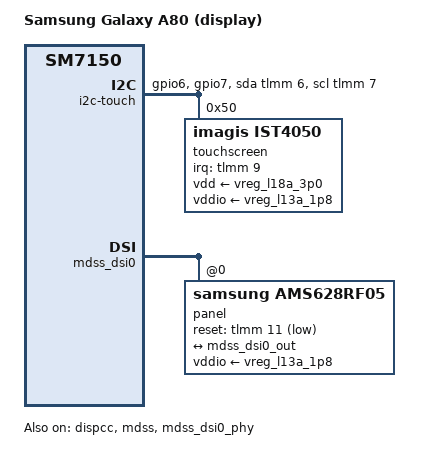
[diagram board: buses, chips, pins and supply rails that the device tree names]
// SPDX-License-Identifier: BSD-3-Clause
/*
 * Samsung Galaxy A80 (r1q), stage 2: the stage-1 board plus the display
 * pipeline (MDSS/DPU, DSI0, AMS628RF05 panel) and the IST4050
 * touchscreen. Kept as its own DTB so
 * the stage-1 image, with the bootloader's framebuffer only, stays a
 * known fallback.
 *
 * Panel wiring from the stock DTBO (ss_dsi_panel_S6E3FC2_AMS670TA01_FHD):
 * reset TLMM 11, enable TLMM 69, TE TLMM 10, VDDIO L13A. ELVDD/ELVSS come
 * from the PM6150L AMOLED block, left on by the bootloader.
 */

#include "sm7150-samsung-r1q.dts"

/ {
	model = "Samsung Galaxy A80 (display)";

	/*
	 * The touchscreen is wired to QUP SE7 (i2c7, TLMM 6 SDA / 7 SCL),
	 * but any transfer on that serial engine, through GPI DMA or its
	 * FIFO, resets the phone at once (a bare chip-ID read from userspace
	 * is enough). Bit-bang the same two lines instead.
	 */
	i2c-touch {
		compatible = "i2c-gpio";
		sda-gpios = <&tlmm 6 (GPIO_ACTIVE_HIGH | GPIO_OPEN_DRAIN)>;
		scl-gpios = <&tlmm 7 (GPIO_ACTIVE_HIGH | GPIO_OPEN_DRAIN)>;
		i2c-gpio,delay-us = <2>;	/* about 250 kHz */

		pinctrl-0 = <&ts_i2c_gpio>;
		pinctrl-names = "default";

		#address-cells = <1>;
		#size-cells = <0>;

		/* Stock: imagis,ist40xx-ts, AVDD from L18A, IRQ on TLMM 9 */
		touchscreen@50 {
			compatible = "imagis,ist4050";
			reg = <0x50>;

			interrupts-extended = <&tlmm 9 IRQ_TYPE_EDGE_FALLING>;

			vdd-supply = <&vreg_l18a_3p0>;
			vddio-supply = <&vreg_l13a_1p8>;

			touchscreen-size-x = <1080>;
			touchscreen-size-y = <2400>;

			pinctrl-0 = <&ts_int_n>;
			pinctrl-names = "default";
		};
	};
};

&dispcc {
	status = "okay";
};

&mdss {
	status = "okay";
};

&mdss_dsi0 {
	vdda-supply = <&vreg_l3c_1p23>;
	status = "okay";

	panel@0 {
		compatible = "samsung,ams628rf05";
		reg = <0>;

		vddio-supply = <&vreg_l13a_1p8>;
		reset-gpios = <&tlmm 11 GPIO_ACTIVE_LOW>;
		/*
		 * The stock enable line is TLMM 69, inside the 63-90 range still
		 * reserved as TrustZone-owned. The bootloader leaves the panel
		 * powered, so leave it alone until 69 is known to be free:
		 * enable-gpios = <&tlmm 69 GPIO_ACTIVE_HIGH>;
		 */

		pinctrl-0 = <&panel_reset_n &mdp_vsync_p>;
		pinctrl-names = "default";

		port {
			panel_in: endpoint {
				remote-endpoint = <&mdss_dsi0_out>;
			};
		};
	};
};

&mdss_dsi0_out {
	data-lanes = <0 1 2 3>;
	remote-endpoint = <&panel_in>;
};

&mdss_dsi0_phy {
	vdds-supply = <&vreg_l4a_0p88>;
	status = "okay";
};

&tlmm {
	mdp_vsync_p: mdp-vsync-p-state {
		pins = "gpio10";
		function = "mdp_vsync";
		drive-strength = <2>;
		bias-pull-down;
	};

	panel_reset_n: panel-reset-n-state {
		pins = "gpio11";
		function = "gpio";
		drive-strength = <8>;
		bias-disable;
	};

	ts_int_n: ts-int-n-state {
		pins = "gpio9";
		function = "gpio";
		drive-strength = <8>;
		bias-pull-up;
	};

	ts_i2c_gpio: ts-i2c-gpio-state {
		pins = "gpio6", "gpio7";
		function = "gpio";
		drive-strength = <2>;
		bias-pull-up;
	};
};
